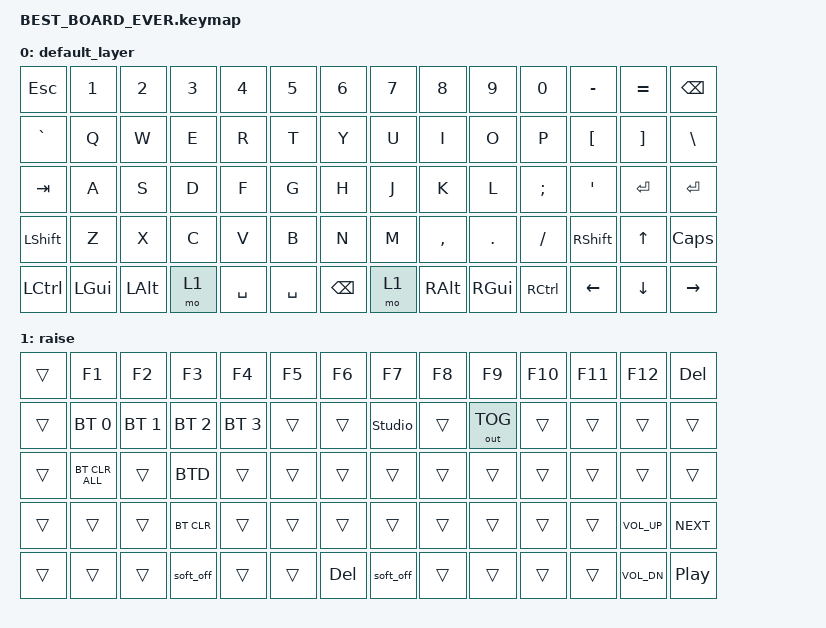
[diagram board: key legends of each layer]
/*
 * Copyright (c) 2020 The ZMK Contributors
 *
 * SPDX-License-Identifier: MIT
 */

#include <behaviors.dtsi>
#include <dt-bindings/zmk/keys.h>
#include <dt-bindings/zmk/bt.h>
#include <dt-bindings/zmk/outputs.h>
#include <zmk-helpers/helper.h>

#define TAP_OR_HOLD(NAME, DESC, TAP, HOLD, DURATION) ZMK_HOLD_TAP(NAME, \
    display-name = DESC; \
    flavor = "tap-preferred"; \
    tapping-term-ms = <DURATION>; \
    quick-tap-ms = <175>; \
    require-prior-idle-ms = <125>; \
    bindings = <&HOLD>, <&TAP>; \
)

#define TAP_OR_SHORT_HOLD(NAME, DESC, TAP, HOLD) TAP_OR_HOLD(NAME, DESC, TAP, HOLD, 200)

TAP_OR_SHORT_HOLD(bt_sel_disc, "Bluetooth Profile Tap: Select; Hold: Disconnect", m_btsel, m_btdis)

ZMK_MACRO_ONE_PARAM(m_btsel, display-name = "Bluetooth Profile Select"; bindings = <&macro_param_1to2>, <&bt BT_SEL MACRO_PLACEHOLDER>;)
ZMK_MACRO_ONE_PARAM(m_btdis, display-name = "Bluetooth Profile Disconnect"; bindings = <&macro_param_1to2>, <&bt BT_DISC MACRO_PLACEHOLDER>;)

ZMK_MACRO(BT0, display-name = "Bluetooth Profile Select 0 and Disconnect all others"; bindings = <&bt BT_DISC 1>, <&bt BT_DISC 2>, <&bt BT_DISC 3>, <&bt BT_SEL 0>;)
ZMK_MACRO(BT1, display-name = "Bluetooth Profile Select 1 and Disconnect all others"; bindings = <&bt BT_DISC 0>, <&bt BT_DISC 2>, <&bt BT_DISC 3>, <&bt BT_SEL 1>;)
ZMK_MACRO(BT2, display-name = "Bluetooth Profile Select 2 and Disconnect all others"; bindings = <&bt BT_DISC 0>, <&bt BT_DISC 1>, <&bt BT_DISC 3>, <&bt BT_SEL 2>;)
ZMK_MACRO(BT3, display-name = "Bluetooth Profile Select 3 and Disconnect all others"; bindings = <&bt BT_DISC 0>, <&bt BT_DISC 1>, <&bt BT_DISC 2>, <&bt BT_SEL 3>;)
ZMK_MACRO(BTD, display-name = "Bluetooth Profile Disconnect all"; bindings = <&bt BT_DISC 0>, <&bt BT_DISC 1>, <&bt BT_DISC 2>, <&bt BT_DISC 3>;)

#define BTSD(P) &bt_sel_disc P P

&soft_off {
    hold-time-ms = <3000>; // Only turn off it the key is held for 3 seconds or longer. Use reset button to power up!
};

/ {
	keymap {
		compatible = "zmk,keymap";

		default_layer {
				// | ESC | 1    |   2   |  3    |  4   |  5    |  6   |  7   |  8   |  9   |  10  |   -   |  =    | BSC  |
				// | GRV | Q    |   W   |  E    |  R   |  T    |  Y   |  U   |  I   |  O   |  P   |   [   |  ]    | \    |
				// | TAB | A    |   S   |  D    |  F   |  G    |  H   |  J   |  K   |  L   |  ;   |   '   |     ENTER    |
				// |LSFT | Z    |   X   |  C    |  V   |  B    |  N   |  M   |  ,   |  .   |  /   | RSHIFT|  UP   | CAPS |
				// |LCTL | LGUI |  LALT | MO(1) |        SPACE        | MO(1)| RALT | RGUI | RCTL | LEFT  | DOWN  | RIGHT|
			bindings = <
				&kp ESC   &kp N1   &kp N2   &kp N3   &kp N4    &kp N5    &kp N6    &kp N7   &kp N8    &kp N9   &kp N0    &kp MINUS &kp EQUAL &kp BSPC  
				&kp GRAVE &kp Q    &kp W    &kp E    &kp R     &kp T     &kp Y     &kp U    &kp I     &kp O    &kp P     &kp LBKT  &kp RBKT  &kp BSLH  
				&kp TAB   &kp A    &kp S    &kp D    &kp F     &kp G     &kp H     &kp J    &kp K     &kp L    &kp SEMI  &kp SQT   &kp RET   &kp RET   
				&kp LSHFT &kp Z    &kp X    &kp C    &kp V     &kp B     &kp N     &kp M    &kp COMMA &kp DOT  &kp FSLH  &kp RSHFT &kp UP    &kp CAPS  
				&kp LCTRL &kp LGUI &kp LALT &mo 1    &kp SPACE &kp SPACE &kp BSPC  &mo 1    &kp RALT  &kp RGUI &kp RCTRL &kp LEFT  &kp DOWN  &kp RIGHT 
			>;
		};

		raise {
			bindings = <
				&trans    &kp F1       &kp F2       &kp F3       &kp F4       &kp F5       &kp F6   &kp F7       &kp F8      &kp F9    &kp F10   &kp F11  &kp F12      &kp DEL    
				&trans    &bt BT_SEL 0 &bt BT_SEL 1 &bt BT_SEL 2 &bt BT_SEL 3 &trans       &trans   &studio_unlock &trans    &out OUT_TOG &trans &trans   &trans       &trans     
				&trans    &bt BT_CLR_ALL &trans     &BTD         &trans       &trans       &trans   &trans       &trans      &trans    &trans    &trans   &trans       &trans     
				&trans    &trans       &trans       &bt BT_CLR   &trans       &trans       &trans   &trans       &trans      &trans    &trans    &trans   &kp C_VOL_UP &kp C_NEXT 
				&trans    &trans       &trans       &soft_off    &trans       &trans       &kp DEL  &soft_off    &trans      &trans    &trans    &trans   &kp C_VOL_DN &kp C_PP   
			>;
		};

		extra1 {
			status = "reserved";
		};
		
		extra2 {
			status = "reserved";
		};
	};
};
